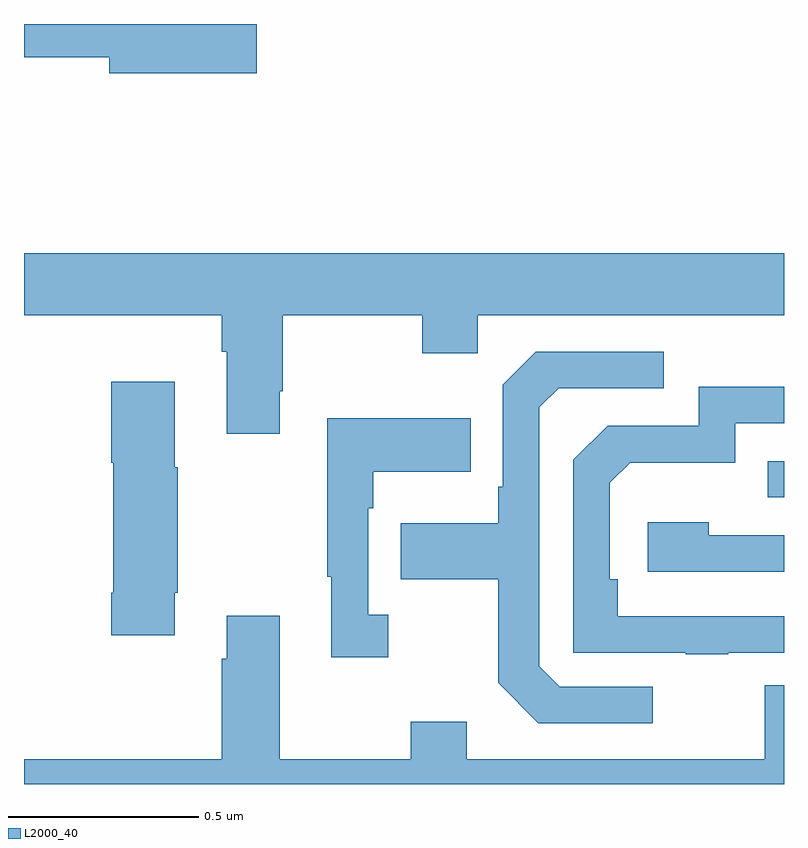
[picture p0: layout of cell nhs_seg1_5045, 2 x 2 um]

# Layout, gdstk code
import gdstk
lib = gdstk.Library(unit=1e-6, precision=1e-09)
def R(c, l, rs):  # rectangles x0, y0, x1, y1
    for r in rs: c.add(gdstk.rectangle(r[:2], r[2:], *l))
def P(c, l, *ps):  # polygons
    for p in ps: c.add(gdstk.Polygon(p, *l))
L2000_40 = (2000, 40)

nhs_seg1_5045 = lib.new_cell('nhs_seg1_5045')
R(nhs_seg1_5045, L2000_40, [(175.957,517.953,176,518.049)])
P(nhs_seg1_5045, L2000_40, [(174.613,519.199),(174,519.199),(174,519.112),(174.224,519.112),(174.224,519.07),(174.613,519.07)],
  [(174.673,518.233),(174.681,518.233),(174.681,518.432),(175.048,518.432),(175.048,518.333),(175.194,518.333),(175.194,518.432),(176,518.432),(176,518.596),(174,518.596),(174,518.432),(174.521,518.432),(174.521,518.336),(174.533,518.336),(174.533,518.121),(174.673,518.121)],
  [(175.654,517.455),(175.41,517.455),(175.356,517.509),(175.356,518.19),(175.407,518.241),(175.684,518.241),(175.684,518.337),(175.347,518.337),(175.26,518.25),(175.26,517.981),(175.248,517.981),(175.248,517.885),(174.991,517.885),(174.991,517.738),(175.248,517.738),(175.248,517.465),(175.353,517.359),(175.654,517.359)],
  [(174.397,517.702),(174.405,517.702),(174.405,518.033),(174.397,518.033),(174.397,518.257),(174.23,518.257),(174.23,518.044),(174.235,518.044),(174.235,517.702),(174.23,517.702),(174.23,517.59),(174.397,517.59)],
  [(175.853,517.545),(176,517.545),(176,517.641),(175.562,517.641),(175.562,517.738),(175.542,517.738),(175.542,517.992),(175.595,518.045),(175.872,518.045),(175.872,518.148),(176,518.148),(176,518.244),(175.776,518.244),(175.776,518.142),(175.536,518.142),(175.446,518.052),(175.446,517.545),(175.741,517.545),(175.741,517.54),(175.853,517.54)],
  [(174.958,517.645),(174.906,517.645),(174.906,517.925),(174.919,517.925),(174.919,518.021),(175.175,518.021),(175.175,518.161),(174.798,518.161),(174.798,517.745),(174.809,517.745),(174.809,517.533),(174.958,517.533)],
  [(176,517.854),(175.802,517.854),(175.802,517.888),(175.641,517.888),(175.641,517.758),(176,517.758)],
  [(176,517.459),(175.949,517.459),(175.949,517.264),(175.165,517.264),(175.165,517.363),(175.018,517.363),(175.018,517.264),(174.673,517.264),(174.673,517.642),(174.533,517.642),(174.533,517.529),(174.521,517.529),(174.521,517.264),(174,517.264),(174,517.199),(176,517.199)])

lib.write_gds('nhs_seg1_5045.gds')
